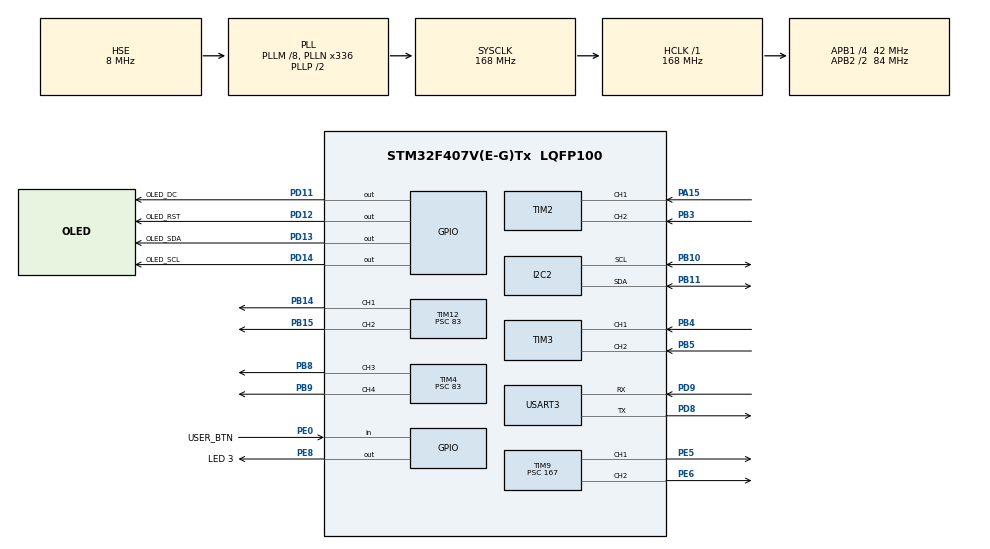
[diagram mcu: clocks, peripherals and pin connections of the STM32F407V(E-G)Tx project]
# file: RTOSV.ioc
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FREERTOS.Tasks01=defaultTask,24,128,StartDefaultTask,Default,NULL,Dynamic,NULL,NULL;MotionTask,32,256,StartMotionTask,Default,NULL,Dynamic,NULL,NULL;IMUTask,24,256,StartIMUTask,Default,NULL,Dynamic,NULL,NULL;EncoderTask,24,128,StartEncoderTask,Default,NULL,Dynamic,NULL,NULL;CommTask,24,256,StartCommTask,Default,NULL,Dynamic,NULL,NULL
FREERTOS.configUSE_MALLOC_FAILED_HOOK=1
FREERTOS.configUSE_NEWLIB_REENTRANT=1
Mcu.Family=STM32F4
Mcu.Name=STM32F407V(E-G)Tx
Mcu.Package=LQFP100
NVIC.PriorityGroup=NVIC_PRIORITYGROUP_4
NVIC.TIM6_DAC_IRQn=true\:15\:0\:false\:false\:true\:false\:false\:true\:true
NVIC.TimeBase=TIM6_DAC_IRQn
NVIC.TimeBaseIP=TIM6
NVIC.USART3_IRQn=true\:5\:0\:false\:false\:true\:true\:true\:true\:true
PA13.Mode=Serial_Wire
PA13.Signal=SYS_JTMS-SWDIO
PA14.Mode=Serial_Wire
PA14.Signal=SYS_JTCK-SWCLK
PA15.Signal=S_TIM2_CH1_ETR
PB10.Mode=I2C
PB10.Signal=I2C2_SCL
PB11.Mode=I2C
PB11.Signal=I2C2_SDA
PB14.Signal=S_TIM12_CH1
PB15.Signal=S_TIM12_CH2
PB3.Signal=S_TIM2_CH2
PB4.Signal=S_TIM3_CH1
PB5.Signal=S_TIM3_CH2
PB8.Signal=S_TIM4_CH3
PB9.Signal=S_TIM4_CH4
PD11.GPIO_Label=OLED_DC
PD11.Signal=GPIO_Output
PD12.GPIO_Label=OLED_RST
PD12.Signal=GPIO_Output
PD13.GPIO_Label=OLED_SDA
PD13.Signal=GPIO_Output
PD14.GPIO_Label=OLED_SCL
PD14.Signal=GPIO_Output
PD8.Mode=Asynchronous
PD8.Signal=USART3_TX
PD9.Mode=Asynchronous
PD9.Signal=USART3_RX
PE0.GPIO_Label=USER_BTN
PE0.Signal=GPIO_Input
PE5.Signal=S_TIM9_CH1
PE6.Signal=S_TIM9_CH2
PE8.GPIO_Label=LED 3
PE8.GPIO_PuPd=GPIO_NOPULL
PE8.PinState=GPIO_PIN_SET
PE8.Signal=GPIO_Output
PH0-OSC_IN.Mode=HSE-External-Oscillator
PH0-OSC_IN.Signal=RCC_OSC_IN
PH1-OSC_OUT.Mode=HSE-External-Oscillator
PH1-OSC_OUT.Signal=RCC_OSC_OUT
ProjectManager.HeapSize=0x200
ProjectManager.StackSize=0x400
ProjectManager.TargetToolchain=STM32CubeIDE
RCC.48MHZClocksFreq_Value=84000000
RCC.AHBFreq_Value=168000000
RCC.APB1CLKDivider=RCC_HCLK_DIV4
RCC.APB1Freq_Value=42000000
RCC.APB1TimFreq_Value=84000000
RCC.APB2CLKDivider=RCC_HCLK_DIV2
RCC.APB2Freq_Value=84000000
RCC.APB2TimFreq_Value=168000000
RCC.CortexFreq_Value=168000000
RCC.HCLKFreq_Value=168000000
RCC.HSE_VALUE=8000000
RCC.HSI_VALUE=16000000
RCC.LSE_VALUE=32768
RCC.PLLM=8
RCC.PLLN=336
RCC.PLLSourceVirtual=RCC_PLLSOURCE_HSE
RCC.SYSCLKFreq_VALUE=168000000
RCC.SYSCLKSource=RCC_SYSCLKSOURCE_PLLCLK
RCC.VCOOutputFreq_Value=336000000
SH.S_TIM12_CH1.0=TIM12_CH1,PWM Generation1 CH1
SH.S_TIM12_CH2.0=TIM12_CH2,PWM Generation2 CH2
SH.S_TIM2_CH1_ETR.0=TIM2_CH1,Encoder_Interface
SH.S_TIM2_CH2.0=TIM2_CH2,Encoder_Interface
SH.S_TIM3_CH1.0=TIM3_CH1,Encoder_Interface
SH.S_TIM3_CH2.0=TIM3_CH2,Encoder_Interface
SH.S_TIM4_CH3.0=TIM4_CH3,PWM Generation3 CH3
SH.S_TIM4_CH4.0=TIM4_CH4,PWM Generation4 CH4
SH.S_TIM9_CH1.0=TIM9_CH1,PWM Generation1 CH1
SH.S_TIM9_CH2.0=TIM9_CH2,PWM Generation2 CH2
TIM12.Channel-PWM\ Generation1\ CH1=TIM_CHANNEL_1
TIM12.Channel-PWM\ Generation2\ CH2=TIM_CHANNEL_2
TIM12.Period=9999
TIM12.Prescaler=83
TIM12.Pulse-PWM\ Generation1\ CH1=1500
TIM12.Pulse-PWM\ Generation2\ CH2=1530
TIM2.EncoderMode=TIM_ENCODERMODE_TI12
TIM3.EncoderMode=TIM_ENCODERMODE_TI12
TIM4.Channel-PWM\ Generation3\ CH3=TIM_CHANNEL_3
TIM4.Channel-PWM\ Generation4\ CH4=TIM_CHANNEL_4
TIM4.Period=99
TIM4.Prescaler=83
TIM9.Channel-PWM\ Generation1\ CH1=TIM_CHANNEL_1
TIM9.Channel-PWM\ Generation2\ CH2=TIM_CHANNEL_2
TIM9.Period=99
TIM9.Prescaler=167
USART3.VirtualMode=VM_ASYNC
VP_FREERTOS_VS_CMSIS_V2.Mode=CMSIS_V2
VP_SYS_VS_tim6.Mode=TIM6
VP_TIM12_VS_ClockSourceINT.Mode=Internal
VP_TIM4_VS_ClockSourceINT.Mode=Internal
VP_TIM9_VS_ClockSourceINT.Mode=Internal
board=custom

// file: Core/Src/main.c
/* USER CODE BEGIN Header */
/**
  ******************************************************************************
  * @file           : main.c
  * @brief          : Main program body
  ******************************************************************************
  * @attention
  *
  * Copyright (c) 2026 STMicroelectronics.
  * All rights reserved.
  *
  * This software is licensed under terms that can be found in the LICENSE file
  * in the root directory of this software component.
  * If no LICENSE file comes with this software, it is provided AS-IS.
  *
  ******************************************************************************
  */
/* USER CODE END Header */
#include "main.h"
#include "cmsis_os.h"

/* USER CODE BEGIN Includes */
#include "app_motor.h"
#include "app_servo.h"
#include "app_imu.h"
#include "app_encoder.h"
#include "app_motion.h"
#include "app_comm.h"
#include "oled.h"

/* USER CODE END Includes */

/* USER CODE BEGIN PD */

#define APP_STATUS_PERIOD_TICKS 500U

/* IMU cold-boot recovery (StartIMUTask): named in RTOS ticks, matching
 * osDelay()'s actual parameter and this file's own APP_STATUS_PERIOD_TICKS
 * convention above, not renamed to "_MS" to avoid implying osDelay() takes
 * milliseconds. configTICK_RATE_HZ is 1000 (FreeRTOSConfig.h), so 1 tick
 * is exactly 1ms here and these values are numerically 500ms/1000ms, but
 * the names intentionally track the unit osDelay() itself consumes.
 *
 * IMU_POWERUP_SETTLE_TICKS: one-time delay before the very first
 * AppIMU_Init() probe of the cycle, to let the ICM-20948 (and any board-
 * level power-rail sequencing) reach a stable, I2C-responsive state after
 * a cold power-on. This is separate from, and does not replace, the
 * existing post-init gyro-settling delay below -- that one lets the
 * already-initialized/already-reset gyro's output settle before bias
 * calibration; this one is about the sensor being electrically present on
 * the bus at all before the first probe is even attempted.
 *
 * IMU_STARTUP_RETRY_INTERVAL_TICKS: delay before retrying after EITHER a
 * failed AppIMU_Init() or a failed AppIMU_Calibrate() -- one shared
 * constant for both, since ERR,IMU cannot and does not need to distinguish
 * which of the two failed. Long enough that retries never spin rapidly or
 * flood anything; short enough that recovery completes in a few seconds
 * even after several retries. */
#define IMU_POWERUP_SETTLE_TICKS         500U
#define IMU_STARTUP_RETRY_INTERVAL_TICKS 1000U

/* USER CODE END PD */

I2C_HandleTypeDef hi2c2;

TIM_HandleTypeDef htim2;
TIM_HandleTypeDef htim3;
TIM_HandleTypeDef htim4;
TIM_HandleTypeDef htim9;
TIM_HandleTypeDef htim12;

UART_HandleTypeDef huart3;

/* Definitions for defaultTask */
osThreadId_t defaultTaskHandle;
const osThreadAttr_t defaultTask_attributes = {
  .name = "defaultTask",
  .stack_size = 128 * 4,
  .priority = (osPriority_t) osPriorityNormal,
};
/* Definitions for MotionTask */
osThreadId_t MotionTaskHandle;
const osThreadAttr_t MotionTask_attributes = {
  .name = "MotionTask",
  .stack_size = 256 * 4,
  .priority = (osPriority_t) osPriorityAboveNormal,
};
/* Definitions for IMUTask */
osThreadId_t IMUTaskHandle;
const osThreadAttr_t IMUTask_attributes = {
  .name = "IMUTask",
  .stack_size = 256 * 4,
  .priority = (osPriority_t) osPriorityNormal,
};
/* Definitions for EncoderTask */
osThreadId_t EncoderTaskHandle;
const osThreadAttr_t EncoderTask_attributes = {
  .name = "EncoderTask",
  .stack_size = 128 * 4,
  .priority = (osPriority_t) osPriorityNormal,
};
/* Definitions for CommTask */
osThreadId_t CommTaskHandle;
const osThreadAttr_t CommTask_attributes = {
  .name = "CommTask",
  .stack_size = 256 * 4,
  .priority = (osPriority_t) osPriorityNormal,
};
/* USER CODE BEGIN PV */
osMessageQueueId_t MotionQueueHandle;
osMessageQueueId_t CommRxQueueHandle;
/* USER CODE END PV */

void SystemClock_Config(void);
static void MX_GPIO_Init(void);
static void MX_TIM4_Init(void);
static void MX_TIM2_Init(void);
static void MX_TIM9_Init(void);
static void MX_TIM12_Init(void);
static void MX_USART3_UART_Init(void);
static void MX_TIM3_Init(void);
static void MX_I2C2_Init(void);
void StartDefaultTask(void *argument);
void StartMotionTask(void *argument);
void StartIMUTask(void *argument);
void StartEncoderTask(void *argument);
void StartCommTask(void *argument);

/* USER CODE BEGIN 0 */

static uint32_t AppUI_Magnitude(int32_t value)
{
  if (value < 0)
  {
    return (uint32_t)(-(value + 1)) + 1U;
  }

  return (uint32_t)value;
}

static int32_t AppUI_ToTenths(float value)
{
  float scaled = value * 10.0f;

  if (scaled >= 0.0f)
  {
    scaled += 0.5f;
  }
  else
  {
    scaled -= 0.5f;
  }

  return (int32_t)scaled;
}

static void AppUI_ClearBuffer(void)
{
  uint8_t page;
  uint8_t x;

  for (page = 0U; page < (OLED_Height / 8U); page++)
  {
    for (x = 0U; x < OLED_Width; x++)
    {
      OLED_GRAM[x][page] = 0U;
    }
  }
}

static void AppUI_ShowSigned(
    uint8_t x,
    uint8_t y,
    int32_t value,
    uint8_t digits)
{
  OLED_ShowChar(
      x,
      y,
      (uint8_t)((value < 0) ? '-' : ' '),
      12U,
      1U
  );
  OLED_ShowNumber(
      (uint8_t)(x + 6U),
      y,
      AppUI_Magnitude(value),
      digits,
      12U
  );
}

static void AppUI_ShowHeadingX10(
    uint8_t x,
    uint8_t y,
    int32_t headingX10)
{
  uint32_t magnitude = AppUI_Magnitude(headingX10);

  OLED_ShowChar(
      x,
      y,
      (uint8_t)((headingX10 < 0) ? '-' : ' '),
      12U,
      1U
  );
  OLED_ShowNumber(
      (uint8_t)(x + 6U),
      y,
      magnitude / 10U,
      6U,
      12U
  );
  OLED_ShowChar(
      (uint8_t)(x + 42U),
      y,
      (uint8_t)'.',
      12U,
      1U
  );
  OLED_ShowNumber(
      (uint8_t)(x + 48U),
      y,
      magnitude % 10U,
      1U,
      12U
  );
}

static void AppUI_Refresh(void)
{
  AppEncoderSnapshot encoder = AppEncoder_GetSnapshot();
  AppIMUSnapshot imu;
  AppMotionState state = AppMotion_GetState();

  AppIMU_GetSnapshot(&imu);
  AppUI_ClearBuffer();

  OLED_ShowString(0U, 0U, (const uint8_t *)"S:");
  OLED_ShowNumber(16U, 0U, (uint32_t)state, 2U, 12U);
  OLED_ShowString(40U, 0U, (const uint8_t *)"I:");
  OLED_ShowNumber(56U, 0U, (uint32_t)imu.ready, 1U, 12U);

  OLED_ShowString(0U, 16U, (const uint8_t *)"L:");
  AppUI_ShowSigned(16U, 16U, encoder.left, 10U);

  OLED_ShowString(0U, 32U, (const uint8_t *)"R:");
  AppUI_ShowSigned(16U, 32U, encoder.right, 10U);

  OLED_ShowString(0U, 48U, (const uint8_t *)"H:");

  if (imu.ready != 0U)
  {
    AppUI_ShowHeadingX10(
        16U,
        48U,
        AppUI_ToTenths(imu.headingDeg)
    );
  }
  else
  {
    OLED_ShowString(16U, 48U, (const uint8_t *)"ERR");
  }

  OLED_Refresh_Gram();
}

/* USER CODE END 0 */

int main(void)
{

  /* MCU Configuration--------------------------------------------------------*/

  /* Reset of all peripherals, Initializes the Flash interface and the Systick. */
  HAL_Init();

  /* Configure the system clock */
  SystemClock_Config();

  /* Initialize all configured peripherals */
  MX_GPIO_Init();
  MX_TIM4_Init();
  MX_TIM2_Init();
  MX_TIM9_Init();
  MX_TIM12_Init();
  MX_USART3_UART_Init();
  MX_TIM3_Init();
  MX_I2C2_Init();

  /* Init scheduler */
  osKernelInitialize();

  /* USER CODE BEGIN RTOS_QUEUES */

  MotionQueueHandle = osMessageQueueNew(
      8,
      sizeof(MotionCommand),
      NULL
  );

  if (MotionQueueHandle == NULL)
  {
      Error_Handler();
  }

  CommRxQueueHandle = osMessageQueueNew(
      128,
      sizeof(uint8_t),
      NULL
  );

  if (CommRxQueueHandle == NULL)
  {
      Error_Handler();
  }
  /* USER CODE END RTOS_QUEUES */

  /* Create the thread(s) */
  /* creation of defaultTask */
  defaultTaskHandle = osThreadNew(StartDefaultTask, NULL, &defaultTask_attributes);

  /* creation of MotionTask */
  MotionTaskHandle = osThreadNew(StartMotionTask, NULL, &MotionTask_attributes);

  /* creation of IMUTask */
  IMUTaskHandle = osThreadNew(StartIMUTask, NULL, &IMUTask_attributes);

  /* creation of EncoderTask */
  EncoderTaskHandle = osThreadNew(StartEncoderTask, NULL, &EncoderTask_attributes);

  /* creation of CommTask */
  CommTaskHandle = osThreadNew(StartCommTask, NULL, &CommTask_attributes);

  /* Start scheduler */
  osKernelStart();

  /* We should never get here as control is now taken by the scheduler */

  /* Infinite loop */
  while (1)
  {

  }
}

void SystemClock_Config(void)
{
  RCC_OscInitTypeDef RCC_OscInitStruct = {0};
  RCC_ClkInitTypeDef RCC_ClkInitStruct = {0};

  /** Configure the main internal regulator output voltage
  */
  __HAL_RCC_PWR_CLK_ENABLE();
  __HAL_PWR_VOLTAGESCALING_CONFIG(PWR_REGULATOR_VOLTAGE_SCALE1);

  /** Initializes the RCC Oscillators according to the specified parameters
  * in the RCC_OscInitTypeDef structure.
  */
  RCC_OscInitStruct.OscillatorType = RCC_OSCILLATORTYPE_HSE;
  RCC_OscInitStruct.HSEState = RCC_HSE_ON;
  RCC_OscInitStruct.PLL.PLLState = RCC_PLL_ON;
  RCC_OscInitStruct.PLL.PLLSource = RCC_PLLSOURCE_HSE;
  RCC_OscInitStruct.PLL.PLLM = 8;
  RCC_OscInitStruct.PLL.PLLN = 336;
  RCC_OscInitStruct.PLL.PLLP = RCC_PLLP_DIV2;
  RCC_OscInitStruct.PLL.PLLQ = 4;
  if (HAL_RCC_OscConfig(&RCC_OscInitStruct) != HAL_OK)
  {
    Error_Handler();
  }

  /** Initializes the CPU, AHB and APB buses clocks
  */
  RCC_ClkInitStruct.ClockType = RCC_CLOCKTYPE_HCLK|RCC_CLOCKTYPE_SYSCLK
                              |RCC_CLOCKTYPE_PCLK1|RCC_CLOCKTYPE_PCLK2;
  RCC_ClkInitStruct.SYSCLKSource = RCC_SYSCLKSOURCE_PLLCLK;
  RCC_ClkInitStruct.AHBCLKDivider = RCC_SYSCLK_DIV1;
  RCC_ClkInitStruct.APB1CLKDivider = RCC_HCLK_DIV4;
  RCC_ClkInitStruct.APB2CLKDivider = RCC_HCLK_DIV2;

  if (HAL_RCC_ClockConfig(&RCC_ClkInitStruct, FLASH_LATENCY_5) != HAL_OK)
  {
    Error_Handler();
  }
}

static void MX_I2C2_Init(void)
{

  hi2c2.Instance = I2C2;
  hi2c2.Init.ClockSpeed = 100000;
  hi2c2.Init.DutyCycle = I2C_DUTYCYCLE_2;
  hi2c2.Init.OwnAddress1 = 0;
  hi2c2.Init.AddressingMode = I2C_ADDRESSINGMODE_7BIT;
  hi2c2.Init.DualAddressMode = I2C_DUALADDRESS_DISABLE;
  hi2c2.Init.OwnAddress2 = 0;
  hi2c2.Init.GeneralCallMode = I2C_GENERALCALL_DISABLE;
  hi2c2.Init.NoStretchMode = I2C_NOSTRETCH_DISABLE;
  if (HAL_I2C_Init(&hi2c2) != HAL_OK)
  {
    Error_Handler();
  }

}

static void MX_TIM2_Init(void)
{

  TIM_Encoder_InitTypeDef sConfig = {0};
  TIM_MasterConfigTypeDef sMasterConfig = {0};

  htim2.Instance = TIM2;
  htim2.Init.Prescaler = 0;
  htim2.Init.CounterMode = TIM_COUNTERMODE_UP;
  htim2.Init.Period = 4294967295;
  htim2.Init.ClockDivision = TIM_CLOCKDIVISION_DIV1;
  htim2.Init.AutoReloadPreload = TIM_AUTORELOAD_PRELOAD_DISABLE;
  sConfig.EncoderMode = TIM_ENCODERMODE_TI12;
  sConfig.IC1Polarity = TIM_ICPOLARITY_RISING;
  sConfig.IC1Selection = TIM_ICSELECTION_DIRECTTI;
  sConfig.IC1Prescaler = TIM_ICPSC_DIV1;
  sConfig.IC1Filter = 0;
  sConfig.IC2Polarity = TIM_ICPOLARITY_RISING;
  sConfig.IC2Selection = TIM_ICSELECTION_DIRECTTI;
  sConfig.IC2Prescaler = TIM_ICPSC_DIV1;
  sConfig.IC2Filter = 0;
  if (HAL_TIM_Encoder_Init(&htim2, &sConfig) != HAL_OK)
  {
    Error_Handler();
  }
  sMasterConfig.MasterOutputTrigger = TIM_TRGO_RESET;
  sMasterConfig.MasterSlaveMode = TIM_MASTERSLAVEMODE_DISABLE;
  if (HAL_TIMEx_MasterConfigSynchronization(&htim2, &sMasterConfig) != HAL_OK)
  {
    Error_Handler();
  }

}

static void MX_TIM3_Init(void)
{

  TIM_Encoder_InitTypeDef sConfig = {0};
  TIM_MasterConfigTypeDef sMasterConfig = {0};

  htim3.Instance = TIM3;
  htim3.Init.Prescaler = 0;
  htim3.Init.CounterMode = TIM_COUNTERMODE_UP;
  htim3.Init.Period = 65535;
  htim3.Init.ClockDivision = TIM_CLOCKDIVISION_DIV1;
  htim3.Init.AutoReloadPreload = TIM_AUTORELOAD_PRELOAD_DISABLE;
  sConfig.EncoderMode = TIM_ENCODERMODE_TI12;
  sConfig.IC1Polarity = TIM_ICPOLARITY_RISING;
  sConfig.IC1Selection = TIM_ICSELECTION_DIRECTTI;
  sConfig.IC1Prescaler = TIM_ICPSC_DIV1;
  sConfig.IC1Filter = 0;
  sConfig.IC2Polarity = TIM_ICPOLARITY_RISING;
  sConfig.IC2Selection = TIM_ICSELECTION_DIRECTTI;
  sConfig.IC2Prescaler = TIM_ICPSC_DIV1;
  sConfig.IC2Filter = 0;
  if (HAL_TIM_Encoder_Init(&htim3, &sConfig) != HAL_OK)
  {
    Error_Handler();
  }
  sMasterConfig.MasterOutputTrigger = TIM_TRGO_RESET;
  sMasterConfig.MasterSlaveMode = TIM_MASTERSLAVEMODE_DISABLE;
  if (HAL_TIMEx_MasterConfigSynchronization(&htim3, &sMasterConfig) != HAL_OK)
  {
    Error_Handler();
  }

}

static void MX_TIM4_Init(void)
{

  TIM_ClockConfigTypeDef sClockSourceConfig = {0};
  TIM_MasterConfigTypeDef sMasterConfig = {0};
  TIM_OC_InitTypeDef sConfigOC = {0};

  htim4.Instance = TIM4;
  htim4.Init.Prescaler = 83;
  htim4.Init.CounterMode = TIM_COUNTERMODE_UP;
  htim4.Init.Period = 99;
  htim4.Init.ClockDivision = TIM_CLOCKDIVISION_DIV1;
  htim4.Init.AutoReloadPreload = TIM_AUTORELOAD_PRELOAD_DISABLE;
  if (HAL_TIM_Base_Init(&htim4) != HAL_OK)
  {
    Error_Handler();
  }
  sClockSourceConfig.ClockSource = TIM_CLOCKSOURCE_INTERNAL;
  if (HAL_TIM_ConfigClockSource(&htim4, &sClockSourceConfig) != HAL_OK)
  {
    Error_Handler();
  }
  if (HAL_TIM_PWM_Init(&htim4) != HAL_OK)
  {
    Error_Handler();
  }
  sMasterConfig.MasterOutputTrigger = TIM_TRGO_RESET;
  sMasterConfig.MasterSlaveMode = TIM_MASTERSLAVEMODE_DISABLE;
  if (HAL_TIMEx_MasterConfigSynchronization(&htim4, &sMasterConfig) != HAL_OK)
  {
    Error_Handler();
  }
  sConfigOC.OCMode = TIM_OCMODE_PWM1;
  sConfigOC.Pulse = 0;
  sConfigOC.OCPolarity = TIM_OCPOLARITY_HIGH;
  sConfigOC.OCFastMode = TIM_OCFAST_DISABLE;
  if (HAL_TIM_PWM_ConfigChannel(&htim4, &sConfigOC, TIM_CHANNEL_3) != HAL_OK)
  {
    Error_Handler();
  }
  if (HAL_TIM_PWM_ConfigChannel(&htim4, &sConfigOC, TIM_CHANNEL_4) != HAL_OK)
  {
    Error_Handler();
  }
  HAL_TIM_MspPostInit(&htim4);

}

static void MX_TIM9_Init(void)
{

  TIM_ClockConfigTypeDef sClockSourceConfig = {0};
  TIM_OC_InitTypeDef sConfigOC = {0};

  htim9.Instance = TIM9;
  htim9.Init.Prescaler = 167;
  htim9.Init.CounterMode = TIM_COUNTERMODE_UP;
  htim9.Init.Period = 99;
  htim9.Init.ClockDivision = TIM_CLOCKDIVISION_DIV1;
  htim9.Init.AutoReloadPreload = TIM_AUTORELOAD_PRELOAD_DISABLE;
  if (HAL_TIM_Base_Init(&htim9) != HAL_OK)
  {
    Error_Handler();
  }
  sClockSourceConfig.ClockSource = TIM_CLOCKSOURCE_INTERNAL;
  if (HAL_TIM_ConfigClockSource(&htim9, &sClockSourceConfig) != HAL_OK)
  {
    Error_Handler();
  }
  if (HAL_TIM_PWM_Init(&htim9) != HAL_OK)
  {
    Error_Handler();
  }
  sConfigOC.OCMode = TIM_OCMODE_PWM1;
  sConfigOC.Pulse = 0;
  sConfigOC.OCPolarity = TIM_OCPOLARITY_HIGH;
  sConfigOC.OCFastMode = TIM_OCFAST_DISABLE;
  if (HAL_TIM_PWM_ConfigChannel(&htim9, &sConfigOC, TIM_CHANNEL_1) != HAL_OK)
  {
    Error_Handler();
  }
  if (HAL_TIM_PWM_ConfigChannel(&htim9, &sConfigOC, TIM_CHANNEL_2) != HAL_OK)
  {
    Error_Handler();
  }
  HAL_TIM_MspPostInit(&htim9);

}

static void MX_TIM12_Init(void)
{

  TIM_ClockConfigTypeDef sClockSourceConfig = {0};
  TIM_OC_InitTypeDef sConfigOC = {0};

  htim12.Instance = TIM12;
  htim12.Init.Prescaler = 83;
  htim12.Init.CounterMode = TIM_COUNTERMODE_UP;
  htim12.Init.Period = 9999;
  htim12.Init.ClockDivision = TIM_CLOCKDIVISION_DIV1;
  htim12.Init.AutoReloadPreload = TIM_AUTORELOAD_PRELOAD_DISABLE;
  if (HAL_TIM_Base_Init(&htim12) != HAL_OK)
  {
    Error_Handler();
  }
  sClockSourceConfig.ClockSource = TIM_CLOCKSOURCE_INTERNAL;
  if (HAL_TIM_ConfigClockSource(&htim12, &sClockSourceConfig) != HAL_OK)
  {
    Error_Handler();
  }
  if (HAL_TIM_PWM_Init(&htim12) != HAL_OK)
  {
    Error_Handler();
  }
  sConfigOC.OCMode = TIM_OCMODE_PWM1;
  sConfigOC.Pulse = 1500;
  sConfigOC.OCPolarity = TIM_OCPOLARITY_HIGH;
  sConfigOC.OCFastMode = TIM_OCFAST_DISABLE;
  if (HAL_TIM_PWM_ConfigChannel(&htim12, &sConfigOC, TIM_CHANNEL_1) != HAL_OK)
  {
    Error_Handler();
  }
  sConfigOC.Pulse = 1530;
  if (HAL_TIM_PWM_ConfigChannel(&htim12, &sConfigOC, TIM_CHANNEL_2) != HAL_OK)
  {
    Error_Handler();
  }
  HAL_TIM_MspPostInit(&htim12);

}

static void MX_USART3_UART_Init(void)
{

  huart3.Instance = USART3;
  huart3.Init.BaudRate = 115200;
  huart3.Init.WordLength = UART_WORDLENGTH_8B;
  huart3.Init.StopBits = UART_STOPBITS_1;
  huart3.Init.Parity = UART_PARITY_NONE;
  huart3.Init.Mode = UART_MODE_TX_RX;
  huart3.Init.HwFlowCtl = UART_HWCONTROL_NONE;
  huart3.Init.OverSampling = UART_OVERSAMPLING_16;
  if (HAL_UART_Init(&huart3) != HAL_OK)
  {
    Error_Handler();
  }

}

static void MX_GPIO_Init(void)
{
  GPIO_InitTypeDef GPIO_InitStruct = {0};

  /* GPIO Ports Clock Enable */
  __HAL_RCC_GPIOE_CLK_ENABLE();
  __HAL_RCC_GPIOH_CLK_ENABLE();
  __HAL_RCC_GPIOB_CLK_ENABLE();
  __HAL_RCC_GPIOD_CLK_ENABLE();
  __HAL_RCC_GPIOA_CLK_ENABLE();

  /*Configure GPIO pin Output Level */
  HAL_GPIO_WritePin(LED_3_GPIO_Port, LED_3_Pin, GPIO_PIN_SET);

  /*Configure GPIO pin Output Level */
  HAL_GPIO_WritePin(GPIOD, OLED_DC_Pin|OLED_RST_Pin|OLED_SDA_Pin|OLED_SCL_Pin, GPIO_PIN_RESET);

  /*Configure GPIO pin : LED_3_Pin */
  GPIO_InitStruct.Pin = LED_3_Pin;
  GPIO_InitStruct.Mode = GPIO_MODE_OUTPUT_PP;
  GPIO_InitStruct.Pull = GPIO_NOPULL;
  GPIO_InitStruct.Speed = GPIO_SPEED_FREQ_LOW;
  HAL_GPIO_Init(LED_3_GPIO_Port, &GPIO_InitStruct);

  /*Configure GPIO pins : OLED_DC_Pin OLED_RST_Pin OLED_SDA_Pin OLED_SCL_Pin */
  GPIO_InitStruct.Pin = OLED_DC_Pin|OLED_RST_Pin|OLED_SDA_Pin|OLED_SCL_Pin;
  GPIO_InitStruct.Mode = GPIO_MODE_OUTPUT_PP;
  GPIO_InitStruct.Pull = GPIO_NOPULL;
  GPIO_InitStruct.Speed = GPIO_SPEED_FREQ_LOW;
  HAL_GPIO_Init(GPIOD, &GPIO_InitStruct);

  /*Configure GPIO pin : USER_BTN_Pin */
  GPIO_InitStruct.Pin = USER_BTN_Pin;
  GPIO_InitStruct.Mode = GPIO_MODE_INPUT;
  GPIO_InitStruct.Pull = GPIO_NOPULL;
  HAL_GPIO_Init(USER_BTN_GPIO_Port, &GPIO_InitStruct);

}

void StartDefaultTask(void *argument)
{
  /* USER CODE BEGIN 5 */

  uint32_t nextWake;

  (void)argument;
  (void)osThreadSetPriority(osThreadGetId(), osPriorityLow);

  OLED_Init();
  nextWake = osKernelGetTickCount();

  for(;;)
  {
    AppUI_Refresh();
    HAL_GPIO_TogglePin(LED_3_GPIO_Port, LED_3_Pin);

    nextWake += APP_STATUS_PERIOD_TICKS;
    (void)osDelayUntil(nextWake);
  }
  /* USER CODE END 5 */
}

void StartMotionTask(void *argument)
{
  /* USER CODE BEGIN StartMotionTask */

  MotionCommand command;

  AppServo_Init();
  AppMotor_Init();
  AppMotion_Init();

  uint32_t lastTick = osKernelGetTickCount();

  for (;;)
  {
    if (osMessageQueueGet(
          MotionQueueHandle,
          &command,
          NULL,
          0U) == osOK)
    {
      AppMotion_HandleCommand(&command);
    }

    uint32_t now =
        osKernelGetTickCount();

    float dtSeconds =
        (float)(now - lastTick)
        / (float)osKernelGetTickFreq();

    lastTick = now;

    AppMotion_Update(dtSeconds);

    osDelay(10);
  }

  /* USER CODE END StartMotionTask */
}

void StartIMUTask(void *argument)
{
  /* USER CODE BEGIN StartIMUTask */

  /* Cold-boot IMU recovery: the leading hypothesis is a power-up race
   * between the MCU (which can finish its own boot and reach this task
   * within milliseconds) and the external ICM-20948 sensor's own power-on/
   * reset time, matching the observed symptom (fails after cold power-on,
   * recovers after a warm STM reset that never removed the sensor's own
   * power). This is NOT proven, though: ERR,IMU (app_comm.c) only reports
   * whether the published IMU snapshot is ready, and cannot distinguish an
   * AppIMU_Init() probe/configuration failure from an AppIMU_Calibrate()
   * failure. The retry loop below does not assume which one occurs -- it
   * covers both uniformly by always restarting from a full AppIMU_Init()
   * after any failure, so it recovers correctly regardless of where the
   * real fault lies.
   *
   * All initialization/recovery ownership stays here, inside IMUTask,
   * exactly as before; on_vision_ready() (app_comm.c) remains empty and
   * unrelated. No MCU reset is performed -- only this task's own retry
   * loop. */
  osDelay(IMU_POWERUP_SETTLE_TICKS);

  for (;;)
  {
    if (!AppIMU_Init())
    {
      /* imuReady remains false throughout (AppIMU_Init() itself forces
       * it false) -- wait, then retry. Never spins without a delay. */
      osDelay(IMU_STARTUP_RETRY_INTERVAL_TICKS);
      continue;
    }

    /* Let gyro settle before bias calibration -- unchanged, still runs
     * after every successful AppIMU_Init(), including retries. */
    osDelay(1000);

    if (AppIMU_Calibrate())
    {
      break;
    }

    /* Complete any request accepted before startup calibration failed. */
    (void)AppIMU_ServiceRequest();

    /* Calibration failed: retry from a full AppIMU_Init() (not a bare
     * AppIMU_Calibrate() retry) so the driver and sensor return to a
     * known clean state -- re-probes the device, re-issues its internal
     * reset, and re-establishes every app-layer static, rather than
     * assuming the prior configuration/state survived whatever caused
     * the calibration read to fail. */
    osDelay(IMU_STARTUP_RETRY_INTERVAL_TICKS);
  }

  uint32_t lastTick = osKernelGetTickCount();

  for (;;)
  {
    if (AppIMU_ServiceRequest())
    {
      /* Exclude request servicing/calibration time from heading integration. */
      lastTick = osKernelGetTickCount();
    }

    uint32_t now = osKernelGetTickCount();

    float dt = (float)(now - lastTick)
             / (float)osKernelGetTickFreq();

    lastTick = now;

    AppIMU_Update(dt);

    osDelay(10);
  }

  /* USER CODE END StartIMUTask */
}

void StartEncoderTask(void *argument)
{
  /* USER CODE BEGIN StartEncoderTask */

  AppEncoder_Init();

  for (;;)
  {
    AppEncoder_Update();

    osDelay(10);
  }

  /* USER CODE END StartEncoderTask */
}

void StartCommTask(void *argument)
{
  /* USER CODE BEGIN StartCommTask */

  uint8_t byte;

  AppComm_Init();

  for (;;)
  {
    if (osMessageQueueGet(
          CommRxQueueHandle,
          &byte,
          NULL,
          10U) == osOK)
    {
      AppComm_ProcessByte(byte);
    }

    AppComm_ServiceTelemetry();
  }

  /* USER CODE END StartCommTask */
}

void HAL_TIM_PeriodElapsedCallback(TIM_HandleTypeDef *htim)
{
  if (htim->Instance == TIM6)
  {
    HAL_IncTick();
  }
}

void Error_Handler(void)
{
  __disable_irq();
  while (1)
  {
  }
}
